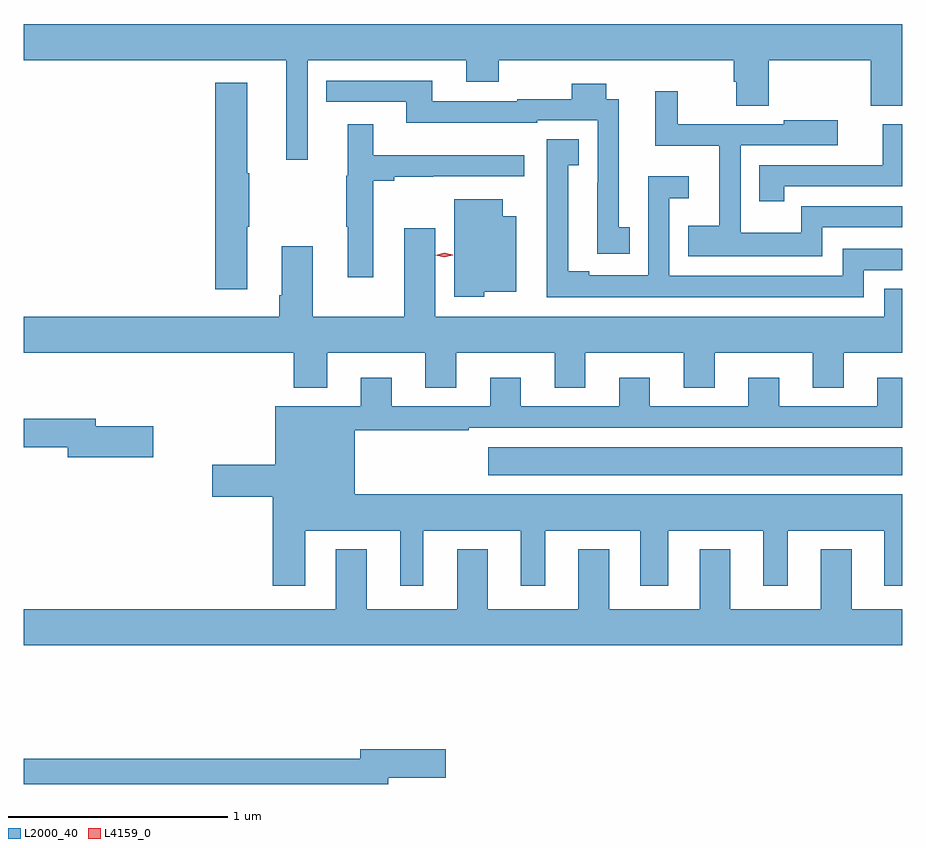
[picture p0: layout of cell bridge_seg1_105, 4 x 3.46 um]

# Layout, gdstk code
import gdstk
lib = gdstk.Library(unit=1e-6, precision=1e-09)
def R(c, l, rs):  # rectangles x0, y0, x1, y1
    for r in rs: c.add(gdstk.rectangle(r[:2], r[2:], *l))
def P(c, l, *ps):  # polygons
    for p in ps: c.add(gdstk.Polygon(p, *l))
L2000_40 = (2000, 40)
L4159_0 = (4159, 0)

bridge_seg1_105 = lib.new_cell('bridge_seg1_105')
R(bridge_seg1_105, L2000_40, [(292.023,531.194,293.908,531.322)])
P(bridge_seg1_105, L2000_40, [(291.201,533.084),(291.923,533.084),(291.923,532.985),(292.071,532.985),(292.071,533.084),(293.141,533.084),(293.141,532.986),(293.153,532.986),(293.153,532.876),(293.301,532.876),(293.301,533.084),(293.764,533.084),(293.764,532.876),(293.908,532.876),(293.908,533.248),(289.908,533.248),(289.908,533.084),(291.104,533.084),(291.104,532.629),(291.201,532.629)],
  [(292.667,532.323),(292.618,532.323),(292.618,532.905),(292.561,532.905),(292.561,532.975),(292.402,532.975),(292.402,532.906),(292.155,532.906),(292.155,532.896),(291.769,532.896),(291.769,532.989),(291.286,532.989),(291.286,532.893),(291.65,532.893),(291.65,532.799),(292.245,532.799),(292.245,532.809),(292.521,532.809),(292.521,532.526),(292.52,532.526),(292.52,532.203),(292.667,532.203)],
  [(290.926,532.324),(290.934,532.324),(290.934,532.568),(290.926,532.568),(290.926,532.981),(290.78,532.981),(290.78,532.041),(290.926,532.041)],
  [(293.544,532.323),(293.908,532.323),(293.908,532.419),(293.551,532.419),(293.551,532.418),(293.448,532.418),(293.448,532.297),(293.172,532.297),(293.172,532.695),(293.614,532.695),(293.614,532.81),(293.369,532.81),(293.369,532.791),(292.886,532.791),(292.886,532.942),(292.784,532.942),(292.784,532.694),(293.075,532.694),(293.075,532.33),(292.933,532.33),(292.933,532.19),(293.544,532.19)],
  [(291.499,532.534),(291.595,532.534),(291.595,532.552),(291.773,532.552),(291.773,532.554),(292.186,532.554),(292.186,532.651),(291.499,532.651),(291.499,532.792),(291.383,532.792),(291.383,532.557),(291.376,532.557),(291.376,532.324),(291.383,532.324),(291.383,532.095),(291.499,532.095)],
  [(293.37,532.509),(293.908,532.509),(293.908,532.791),(293.819,532.791),(293.819,532.605),(293.257,532.605),(293.257,532.44),(293.37,532.44)],
  [(292.745,532.005),(293.733,532.005),(293.733,532.128),(293.908,532.128),(293.908,532.224),(293.637,532.224),(293.637,532.101),(292.848,532.101),(292.848,532.454),(292.936,532.454),(292.936,532.555),(292.752,532.555),(292.752,532.105),(292.483,532.105),(292.483,532.123),(292.387,532.123),(292.387,532.606),(292.436,532.606),(292.436,532.724),(292.29,532.724),(292.29,532.468),(292.289,532.468),(292.289,532.004),(292.745,532.004)],
  [(292.005,532.028),(292.15,532.028),(292.15,532.372),(292.09,532.372),(292.09,532.45),(291.869,532.45),(291.869,532.007),(292.005,532.007)],
  [(291.877,531.752),(292.325,531.752),(292.325,531.592),(292.465,531.592),(292.465,531.752),(292.913,531.752),(292.913,531.592),(293.053,531.592),(293.053,531.752),(293.501,531.752),(293.501,531.592),(293.641,531.592),(293.641,531.752),(293.908,531.752),(293.908,532.043),(293.825,532.043),(293.825,531.916),(291.781,531.916),(291.781,532.318),(291.641,532.318),(291.641,531.916),(291.223,531.916),(291.223,532.237),(291.083,532.237),(291.083,532.012),(291.071,532.012),(291.071,531.916),(289.908,531.916),(289.908,531.752),(291.137,531.752),(291.137,531.593),(291.289,531.593),(291.289,531.752),(291.737,531.752),(291.737,531.592),(291.877,531.592)],
  [(291.19,530.942),(291.623,530.942),(291.623,530.691),(291.727,530.691),(291.727,530.942),(292.172,530.942),(292.172,530.691),(292.282,530.691),(292.282,530.942),(292.715,530.942),(292.715,530.691),(292.843,530.691),(292.843,530.942),(293.276,530.942),(293.276,530.691),(293.386,530.691),(293.386,530.942),(293.825,530.942),(293.825,530.691),(293.908,530.691),(293.908,531.106),(291.415,531.106),(291.415,531.399),(291.935,531.399),(291.935,531.411),(293.908,531.411),(293.908,531.637),(293.795,531.637),(293.795,531.507),(293.347,531.507),(293.347,531.637),(293.207,531.637),(293.207,531.507),(292.759,531.507),(292.759,531.637),(292.619,531.637),(292.619,531.507),(292.171,531.507),(292.171,531.637),(292.031,531.637),(292.031,531.507),(291.583,531.507),(291.583,531.637),(291.443,531.637),(291.443,531.508),(291.053,531.508),(291.053,531.242),(290.766,531.242),(290.766,531.095),(291.041,531.095),(291.041,530.691),(291.19,530.691)],
  [(290.497,531.417),(290.236,531.417),(290.236,531.451),(289.908,531.451),(289.908,531.322),(290.108,531.322),(290.108,531.275),(290.497,531.275)],
  [(293.908,530.584),(293.677,530.584),(293.677,530.857),(293.537,530.857),(293.537,530.584),(293.125,530.584),(293.125,530.857),(292.985,530.857),(292.985,530.584),(292.573,530.584),(292.573,530.857),(292.433,530.857),(292.433,530.584),(292.021,530.584),(292.021,530.857),(291.881,530.857),(291.881,530.584),(291.469,530.584),(291.469,530.857),(291.329,530.857),(291.329,530.584),(289.908,530.584),(289.908,530.42),(293.908,530.42)],
  [(291.568,529.817),(291.829,529.817),(291.829,529.947),(291.44,529.947),(291.44,529.904),(289.908,529.904),(289.908,529.788),(291.568,529.788)])
P(bridge_seg1_105, L4159_0, [(291.823,532.186),(291.783,532.195),(291.783,532.195),(291.783,532.195),(291.823,532.206),(291.862,532.197),(291.862,532.196),(291.862,532.196)])

lib.write_gds('bridge_seg1_105.gds')
